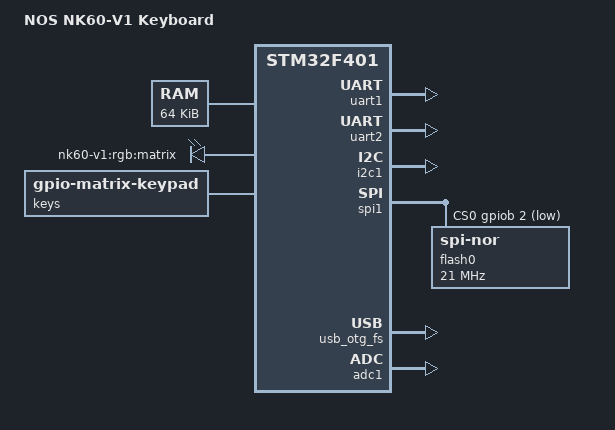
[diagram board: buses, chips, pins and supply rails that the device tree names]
/*
 * Copyright (C) 2023-2024 胡启航<Nick Hu>
 *
 * Author: 胡启航<Nick Hu>
 *
 * Email: huqihan@live.com
 */

/dts-v1/;

/ {
    compatible = "nick,nk60-v1", "st,stm32f401";
    model = "NOS NK60-V1 Keyboard";
    #address-cells = <1>;
    #size-cells = <1>;

    chosen {
        bootargs = "";
        nos,flash = <&flash0>;
    };

    memory@20000000 {
        device_type = "memory";
        reg = <0x20000000 0x10000>;  /* 64KB SRAM */
    };

    flash@08000000 {
        device_type = "flash";
        reg = <0x08000000 0x40000>;  /* 256KB Flash */
    };

    cpus {
        #address-cells = <1>;
        #size-cells = <0>;

        cpu@0 {
            compatible = "arm,cortex-m4";
            device_type = "cpu";
            reg = <0>;
            clock-frequency = <84000000>;  /* 84MHz */
        };
    };

    clocks {
        hse: hse-clock {
            compatible = "fixed-clock";
            #clock-cells = <0>;
            clock-frequency = <25000000>;  /* 25MHz HSE */
        };

        hsi: hsi-clock {
            compatible = "fixed-clock";
            #clock-cells = <0>;
            clock-frequency = <16000000>;  /* 16MHz HSI */
        };
    };

    soc {
        #address-cells = <1>;
        #size-cells = <1>;
        compatible = "simple-bus";
        ranges;

        rcc: rcc@40023800 {
            compatible = "st,stm32f4-rcc";
            reg = <0x40023800 0x400>;
            clocks = <&hse>, <&hsi>;
            clock-names = "hse", "hsi";
        };

        uart1: serial@40011000 {
            compatible = "st,stm32-uart";
            reg = <0x40011000 0x400>;
            interrupts = <37>;
            clocks = <&rcc>;
            status = "okay";
        };

        uart2: serial@40004400 {
            compatible = "st,stm32-uart";
            reg = <0x40004400 0x400>;
            interrupts = <38>;
            clocks = <&rcc>;
            status = "okay";
        };

        i2c1: i2c@40005400 {
            compatible = "st,stm32f4-i2c";
            reg = <0x40005400 0x400>;
            interrupts = <31>, <32>;
            clocks = <&rcc>;
            #address-cells = <1>;
            #size-cells = <0>;
            status = "okay";
        };

        spi1: spi@40013000 {
            compatible = "st,stm32f4-spi";
            reg = <0x40013000 0x400>;
            interrupts = <35>;
            clocks = <&rcc>;
            #address-cells = <1>;
            #size-cells = <0>;
            cs-gpios = <&gpiob 2 1>;
            status = "okay";

            flash0: flash@0 {
                compatible = "jedec,spi-nor";
                reg = <0>;
                spi-max-frequency = <21000000>;
                spi-cpol;
                spi-cpha;
            };
        };

        gpioa: gpio@40020000 {
            compatible = "st,stm32f4-gpio";
            reg = <0x40020000 0x400>;
            gpio-controller;
            #gpio-cells = <2>;
        };

        gpiob: gpio@40020400 {
            compatible = "st,stm32f4-gpio";
            reg = <0x40020400 0x400>;
            gpio-controller;
            #gpio-cells = <2>;
        };

        gpioc: gpio@40020800 {
            compatible = "st,stm32f4-gpio";
            reg = <0x40020800 0x400>;
            gpio-controller;
            #gpio-cells = <2>;
        };

        gpiod: gpio@40020C00 {
            compatible = "st,stm32f4-gpio";
            reg = <0x40020C00 0x400>;
            gpio-controller;
            #gpio-cells = <2>;
        };

        gpioe: gpio@40021000 {
            compatible = "st,stm32f4-gpio";
            reg = <0x40021000 0x400>;
            gpio-controller;
            #gpio-cells = <2>;
        };

        gpioh: gpio@40021C00 {
            compatible = "st,stm32f4-gpio";
            reg = <0x40021C00 0x400>;
            gpio-controller;
            #gpio-cells = <2>;
        };

        usb_otg_fs: usb@50000000 {
            compatible = "st,stm32f4-usb-otg";
            reg = <0x50000000 0x40000>;
            interrupts = <67>;
            clocks = <&rcc>;
            status = "okay";
        };

        tim2: timer@40000000 {
            compatible = "st,stm32-timer";
            reg = <0x40000000 0x400>;
            interrupts = <28>;
            clocks = <&rcc>;
        };

        tim3: timer@40000400 {
            compatible = "st,stm32-timer";
            reg = <0x40000400 0x400>;
            interrupts = <29>;
            clocks = <&rcc>;
        };

        tim4: timer@40000800 {
            compatible = "st,stm32-timer";
            reg = <0x40000800 0x400>;
            interrupts = <30>;
            clocks = <&rcc>;
        };

        tim5: timer@40000C00 {
            compatible = "st,stm32-timer";
            reg = <0x40000C00 0x400>;
            interrupts = <50>;
            clocks = <&rcc>;
        };

        tim9: timer@40014000 {
            compatible = "st,stm32-timer";
            reg = <0x40014000 0x400>;
            interrupts = <24>;
            clocks = <&rcc>;
        };

        adc1: adc@40012000 {
            compatible = "st,stm32f4-adc";
            reg = <0x40012000 0x400>;
            interrupts = <18>;
            clocks = <&rcc>;
            #io-channel-cells = <1>;
        };
    };

    leds {
        compatible = "pwm-leds-74hc595";

        matrix {
            label = "nk60-v1:rgb:matrix";
            rows = <15>;
            cols = <14>;
            default-state = "on";
        };
    };

    keys {
        compatible = "gpio-matrix-keypad";

        matrix {
            label = "NK60-V1 5x14 Matrix Keypad";
            keypad,num-rows = <5>;
            keypad,num-columns = <14>;
        };
    };
};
